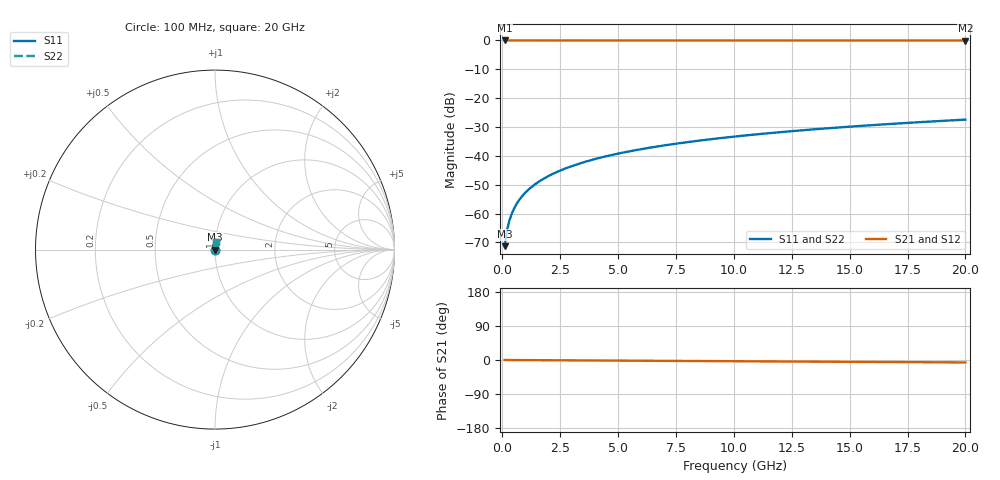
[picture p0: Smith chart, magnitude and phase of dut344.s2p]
! Touchstone file exported from HFSS 2026.1.0
!  File:  C:/ffzhzh/LocalFiles/Ansys_Project_Files/temp_train_TSV_344_1783018908_46388.aedt
!  Generated:  03:03:42 AM Jul  3, 2026
!  Design:  TSV
!  Project:  temp_train_TSV_344_1783018908_46388
! Variables:
!  h_bsmrdl = 2um
!  h_ox = 20um
!  h_rdl = 5um
!  h_sub = 52.02um
!  h_tmrdl = 5um
!  h_tsv = 52.02um
!  h_via = 3um
!  l_bsmrdl = 300um
!  l_sub = 416.44um
!  l_tmrdl = 200um
!  m_sub = 200um
!  pitch = 53.67um
!  r_tsv = 8.22um
!  s_tmrdl = 10um
!  w_bsmrdl = 18um
!  w_sub = 500um
!  w_tmrdl = 12um
!  x_tsv_center1 = 206um
!  x_tsv_center2 = 524um
!  x_tsv_center3 = 736um
!  x_tsv_center4 = 1054um
!  x_tsv_center5 = 1266um
!  x_tsv_center6 = 1584um
# GHz S MA R 50.000000
! Terminal data exported
! Port[1] = TSV1_1_T1
! Port[2] = TSV1_1_T2
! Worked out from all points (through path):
!   200 points, 100 MHz to 20 GHz, reference 50 ohm
!   highest |S21| = 0.00 dB at 100 MHz (marker M1); lowest = 0.0 dB at 20 GHz (marker M2)
!   lowest |S11| = -71.3 dB at 100 MHz (marker M3), VSWR 1.00, Z = 50 + j0.0243 ohm
!   |S11| at or under -10 dB: start of sweep to end of sweep
!   |S22| runs from -71.3 to -27.4 dB; largest |S21 - S12| = 2.1e-15
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0.1  0.0002725 63.3  0.9999 -0.0  0.9999 -0.0  0.0002725 63.3
! Gamma 0 0 0 0
! Port Impedance 50 0 50 0
0.2  0.0005023 74.9  0.9999 -0.1  0.9999 -0.1  0.0005023 74.9
0.3  0.0007375 78.8  0.9999 -0.1  0.9999 -0.1  0.0007375 78.8
0.4  0.0009711 80.6  0.9998 -0.1  0.9998 -0.1  0.0009711 80.6
0.5  0.001202 81.6  0.9998 -0.2  0.9998 -0.2  0.001202 81.6
0.6  0.001429 82.2  0.9998 -0.2  0.9998 -0.2  0.001429 82.2
0.7  0.001654 82.7  0.9998 -0.2  0.9998 -0.2  0.001654 82.7
0.8  0.001876 83.0  0.9998 -0.3  0.9998 -0.3  0.001876 83.0
1  0.002315 83.6  0.9998 -0.3  0.9998 -0.3  0.002315 83.6
1.4  0.003185 84.4  0.9997 -0.5  0.9997 -0.5  0.003185 84.4
1.7  0.003835 84.8  0.9997 -0.6  0.9997 -0.6  0.003835 84.8
2  0.004484 85.1  0.9997 -0.7  0.9997 -0.7  0.004484 85.1
2.7  0.005997 85.6  0.9996 -0.9  0.9996 -0.9  0.005997 85.6
3.5  0.007722 85.8  0.9996 -1.1  0.9996 -1.1  0.007722 85.8
4.2  0.009226 85.8  0.9995 -1.4  0.9995 -1.4  0.009226 85.8
5  0.01094 85.7  0.9994 -1.6  0.9994 -1.6  0.01094 85.7
6.8  0.01477 85.5  0.9993 -2.2  0.9993 -2.2  0.01477 85.5
8.3  0.01795 85.2  0.9992 -2.7  0.9992 -2.7  0.01795 85.2
10.1  0.02176 84.8  0.999 -3.3  0.999 -3.3  0.02176 84.8
13.4  0.02871 84.0  0.9988 -4.3  0.9988 -4.3  0.02871 84.0
16.7  0.03563 83.2  0.9985 -5.4  0.9985 -5.4  0.03563 83.1
20  0.04251 82.2  0.9981 -6.4  0.9981 -6.4  0.04251 82.2
